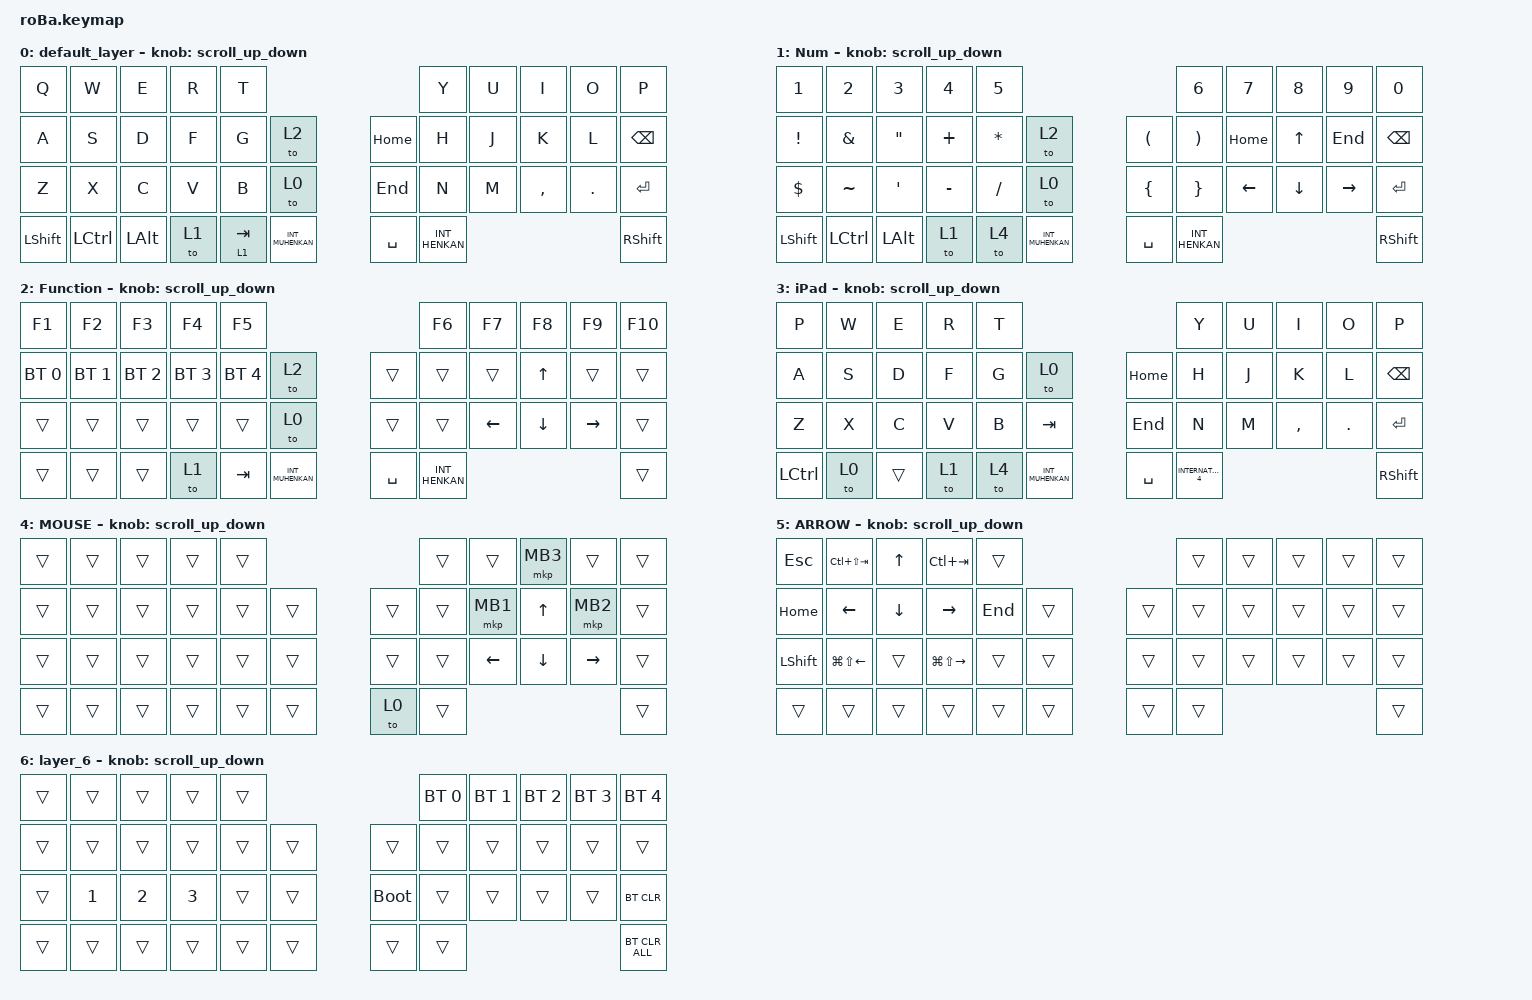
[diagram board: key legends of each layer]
#include <behaviors.dtsi>
#include <dt-bindings/zmk/bt.h>
#include <dt-bindings/zmk/keys.h>
#include <dt-bindings/zmk/pointing.h>

// #includeのあとのあたりにスクロール量を変更
// #define ZMK_MOUSE_DEFAULT_SCRL_VAL 100

#define ZMK_POINTING_DEFAULT_SCRL_VAL 80

&mt {
    flavor = "balanced";
    quick-tap-ms = <0>;
};

&trackball {
    automouse-layer = <4>;
    scroll-layers = <5>;

    // arrows {
    //     layers = <3>;
    //     bindings =
    //         <&kp RIGHT_ARROW>,
    //         <&kp LEFT_ARROW>,
    //         <&kp UP_ARROW>,
    //         <&kp DOWN_ARROW>;
    //     tick = <10>;
    //     wait-ms = <5>;
    //     tap-ms = <5>;
    // };
};

/ {
    combos {
        compatible = "zmk,combos";

        tab {
            bindings = <&kp TAB>;
            key-positions = <11 10>;
        };

        shift_tab {
            bindings = <&kp LS(TAB)>;
            key-positions = <11 12>;
        };

        windows {
            bindings = <&kp LEFT_WIN>;
            key-positions = <35 34>;
        };

        double_quotation {
            bindings = <&kp MINUS>;
            key-positions = <8 9>;
        };

        eq {
            bindings = <&kp ESCAPE>;
            key-positions = <0 1>;
        };

        leftarrow {
            bindings = <&kp LEFT_ARROW>;
            key-positions = <18 19>;
        };

        rightarrow {
            bindings = <&kp RIGHT_ARROW>;
            key-positions = <19 20>;
        };
    };

    macros {
        to_layer_0: to_layer_0 {
            compatible = "zmk,behavior-macro-one-param";
            #binding-cells = <1>;
            bindings = <&to 0 &macro_param_1to1 &kp MACRO_PLACEHOLDER>;
            label = "TO_LAYER_0";
        };
    };

    behaviors {
        lt_to_layer_0: lt_to_layer_0 {
            compatible = "zmk,behavior-hold-tap";
            label = "LAYER_TAP_TO_0";
            bindings = <&mo>, <&to_layer_0>;

            #binding-cells = <2>;
            tapping-term-ms = <200>;
        };

        //  behaviors に追加
        // 新しいスクロール動作の追加

        scroll_up_down: behavior_sensor_rotate_mouse_wheel_up_down {
            compatible = "zmk,behavior-sensor-rotate";
            #sensor-binding-cells = <0>;
            bindings = <&msc SCRL_DOWN>, <&msc SCRL_UP>;

            // 追加: スクロールのタップ時間を設定 (20ms)

            tap-ms = <20>;
        };

        // 設定したいレイヤー
        // sensor-bindings = <&scroll_up_down>;
    };

    keymap {
        compatible = "zmk,keymap";

        default_layer {
            bindings = <
&kp Q           &kp W      &kp E         &kp R  &kp T                                       &kp Y           &kp U  &kp I      &kp O    &kp P
&kp A           &kp S      &kp D         &kp F  &kp G      &to 2                 &kp HOME   &kp H           &kp J  &kp K      &kp L    &kp BACKSPACE
&kp Z           &kp X      &kp C         &kp V  &kp B      &to 0                 &kp END    &kp N           &kp M  &kp COMMA  &kp DOT  &kp ENTER
&kp LEFT_SHIFT  &kp LCTRL  &kp LEFT_ALT  &to 1  &lt 1 TAB  &kp INT_MUHENKAN      &kp SPACE  &kp INT_HENKAN                             &kp RIGHT_SHIFT
            >;

            sensor-bindings = <&scroll_up_down>;
        };

        Num {
            bindings = <
&kp NUMBER_1     &kp NUMBER_2   &kp NUMBER_3       &kp NUMBER_4  &kp N5                                                    &kp NUMBER_6           &kp N7          &kp N8          &kp N9     &kp N0
&kp EXCLAMATION  &kp AMPERSAND  &kp DOUBLE_QUOTES  &kp PLUS      &kp ASTERISK  &to 2                 &kp LEFT_PARENTHESIS  &kp RIGHT_PARENTHESIS  &kp HOME        &kp UP_ARROW    &kp END    &kp BACKSPACE
&kp DOLLAR       &kp TILDE      &kp SQT            &kp MINUS     &kp SLASH     &to 0                 &kp LEFT_BRACE        &kp RIGHT_BRACE        &kp LEFT_ARROW  &kp DOWN_ARROW  &kp RIGHT  &kp ENTER
&kp LEFT_SHIFT   &kp LCTRL      &kp LEFT_ALT       &to 1         &to 4         &kp INT_MUHENKAN      &kp SPACE             &kp INT_HENKAN                                                    &kp RIGHT_SHIFT
            >;

            sensor-bindings = <&scroll_up_down>;
        };

        Function {
            bindings = <
&kp F1        &kp F2        &kp F3        &kp F4        &kp F5                                         &kp F6          &kp F7    &kp F8    &kp F9     &kp F10
&bt BT_SEL 0  &bt BT_SEL 1  &bt BT_SEL 2  &bt BT_SEL 3  &bt BT_SEL 4  &to 2                 &trans     &trans          &trans    &kp UP    &trans     &trans
&trans        &trans        &trans        &trans        &trans        &to 0                 &trans     &trans          &kp LEFT  &kp DOWN  &kp RIGHT  &trans
&trans        &trans        &trans        &to 1         &kp TAB       &kp INT_MUHENKAN      &kp SPACE  &kp INT_HENKAN                                 &trans
            >;

            sensor-bindings = <&scroll_up_down>;
        };

        iPad {
            bindings = <
&kp P             &kp W  &kp E   &kp R  &kp T                                   &kp Y                &kp U  &kp I      &kp O       &kp P
&kp A             &kp S  &kp D   &kp F  &kp G  &to 0                 &kp HOME   &kp H                &kp J  &kp K      &kp L       &kp BACKSPACE
&kp Z             &kp X  &kp C   &kp V  &kp B  &kp TAB               &kp END    &kp N                &kp M  &kp COMMA  &kp PERIOD  &kp ENTER
&kp LEFT_CONTROL  &to 0  &trans  &to 1  &to 4  &kp INT_MUHENKAN      &kp SPACE  &kp INTERNATIONAL_4                                &kp RIGHT_SHIFT
            >;

            sensor-bindings = <&scroll_up_down>;
        };

        MOUSE {
            bindings = <
&trans  &trans  &trans  &trans  &trans                      &trans  &trans    &mkp MB3  &trans     &trans
&trans  &trans  &trans  &trans  &trans  &trans      &trans  &trans  &mkp MB1  &kp UP    &mkp MB2   &trans
&trans  &trans  &trans  &trans  &trans  &trans      &trans  &trans  &kp LEFT  &kp DOWN  &kp RIGHT  &trans
&trans  &trans  &trans  &trans  &trans  &trans      &to 0   &trans                                 &trans
            >;

            sensor-bindings = <&scroll_up_down>;
        };

        ARROW {
            bindings = <
&kp ESCAPE      &kp LC(LS(TAB))         &kp UP_ARROW    &kp LC(TAB)              &trans                       &trans  &trans  &trans  &trans  &trans
&kp HOME        &kp LEFT_ARROW          &kp DOWN_ARROW  &kp RIGHT_ARROW          &kp END  &trans      &trans  &trans  &trans  &trans  &trans  &trans
&kp LEFT_SHIFT  &kp LG(LS(LEFT_ARROW))  &trans          &kp LG(LS(RIGHT_ARROW))  &trans   &trans      &trans  &trans  &trans  &trans  &trans  &trans
&trans          &trans                  &trans          &trans                   &trans   &trans      &trans  &trans                          &trans
            >;

            sensor-bindings = <&scroll_up_down>;
        };

        layer_6 {
            bindings = <
&trans  &trans        &trans        &trans        &trans                           &bt BT_SEL 0  &bt BT_SEL 1  &bt BT_SEL 2  &bt BT_SEL 3  &bt BT_SEL 4
&trans  &trans        &trans        &trans        &trans  &trans      &trans       &trans        &trans        &trans        &trans        &trans
&trans  &kp NUMBER_1  &kp NUMBER_2  &kp NUMBER_3  &trans  &trans      &bootloader  &trans        &trans        &trans        &trans        &bt BT_CLR
&trans  &trans        &trans        &trans        &trans  &trans      &trans       &trans                                                  &bt BT_CLR_ALL
            >;

            sensor-bindings = <&scroll_up_down>;
        };
    };
};
